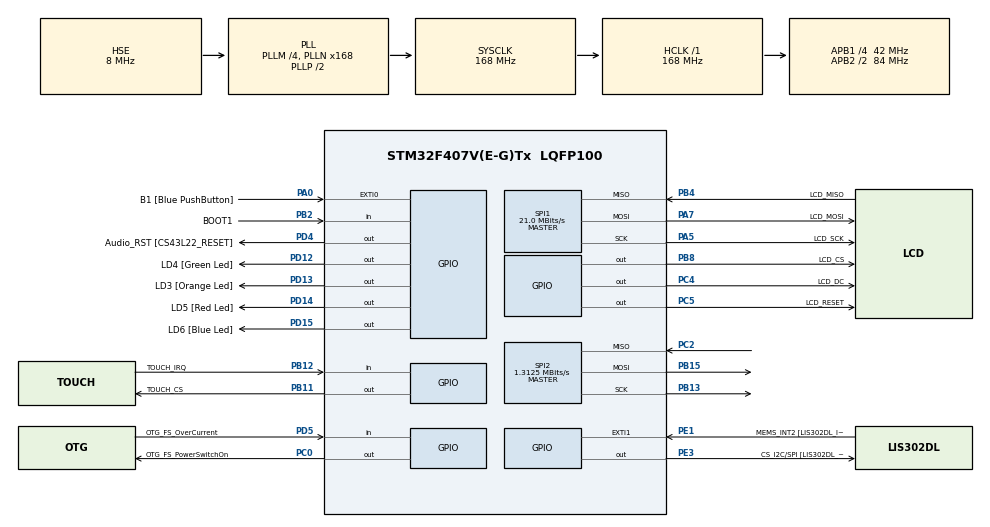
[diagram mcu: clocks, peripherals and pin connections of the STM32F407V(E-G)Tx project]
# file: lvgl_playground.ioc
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Dma.Request0=SPI1_TX
Dma.SPI1_TX.0.Direction=DMA_MEMORY_TO_PERIPH
Dma.SPI1_TX.0.FIFOMode=DMA_FIFOMODE_DISABLE
Dma.SPI1_TX.0.Instance=DMA2_Stream3
Dma.SPI1_TX.0.MemDataAlignment=DMA_MDATAALIGN_BYTE
Dma.SPI1_TX.0.MemInc=DMA_MINC_ENABLE
Dma.SPI1_TX.0.Mode=DMA_NORMAL
Dma.SPI1_TX.0.PeriphDataAlignment=DMA_PDATAALIGN_BYTE
Dma.SPI1_TX.0.PeriphInc=DMA_PINC_DISABLE
Dma.SPI1_TX.0.Priority=DMA_PRIORITY_LOW
Mcu.Family=STM32F4
Mcu.Name=STM32F407V(E-G)Tx
Mcu.Package=LQFP100
NVIC.DMA2_Stream3_IRQn=true\:0\:0\:false\:false\:true\:false\:true\:true
NVIC.PriorityGroup=NVIC_PRIORITYGROUP_0
NVIC.SPI1_IRQn=true\:0\:0\:false\:false\:true\:true\:true\:true
PA0-WKUP.GPIO_Label=B1 [Blue PushButton]
PA0-WKUP.Signal=GPXTI0
PA10.GPIO_Label=OTG_FS_ID
PA10.GPIO_Mode=GPIO_MODE_AF_PP
PA10.GPIO_PuPd=GPIO_NOPULL
PA10.GPIO_Speed=GPIO_SPEED_FREQ_LOW
PA10.Signal=USB_OTG_FS_ID
PA11.GPIO_Label=OTG_FS_DM
PA11.GPIO_Mode=GPIO_MODE_AF_PP
PA11.GPIO_PuPd=GPIO_NOPULL
PA11.GPIO_Speed=GPIO_SPEED_FREQ_LOW
PA11.Signal=USB_OTG_FS_DM
PA12.GPIO_Label=OTG_FS_DP
PA12.GPIO_Mode=GPIO_MODE_AF_PP
PA12.GPIO_PuPd=GPIO_NOPULL
PA12.GPIO_Speed=GPIO_SPEED_FREQ_LOW
PA12.Signal=USB_OTG_FS_DP
PA13.GPIO_Label=SWDIO
PA13.Signal=SYS_JTMS-SWDIO
PA14.GPIO_Label=SWCLK
PA14.Signal=SYS_JTCK-SWCLK
PA4.GPIO_Label=I2S3_WS [CS43L22_LRCK]
PA4.GPIO_Mode=GPIO_MODE_AF_PP
PA4.GPIO_PuPd=GPIO_NOPULL
PA4.GPIO_Speed=GPIO_SPEED_FREQ_LOW
PA4.Signal=I2S3_WS
PA5.GPIO_Label=LCD_SCK
PA5.GPIO_Mode=GPIO_MODE_AF_PP
PA5.GPIO_PuPd=GPIO_NOPULL
PA5.GPIO_Speed=GPIO_SPEED_FREQ_LOW
PA5.Mode=Full_Duplex_Master
PA5.Signal=SPI1_SCK
PA7.GPIO_Label=LCD_MOSI
PA7.GPIO_Mode=GPIO_MODE_AF_PP
PA7.GPIO_PuPd=GPIO_NOPULL
PA7.GPIO_Speed=GPIO_SPEED_FREQ_LOW
PA7.Mode=Full_Duplex_Master
PA7.Signal=SPI1_MOSI
PA9.GPIO_Label=VBUS_FS
PA9.GPIO_Mode=GPIO_MODE_INPUT
PA9.GPIO_PuPd=GPIO_NOPULL
PA9.Signal=USB_OTG_FS_VBUS
PB10.GPIO_Label=CLK_IN [MP45DT02_CLK]
PB10.GPIO_Mode=GPIO_MODE_AF_PP
PB10.GPIO_PuPd=GPIO_NOPULL
PB10.GPIO_Speed=GPIO_SPEED_FREQ_LOW
PB10.Signal=I2S2_CK
PB11.GPIO_Label=TOUCH_CS
PB11.PinState=GPIO_PIN_SET
PB11.Signal=GPIO_Output
PB12.GPIO_Label=TOUCH_IRQ
PB12.GPIO_PuPd=GPIO_PULLUP
PB12.Signal=GPIO_Input
PB13.Mode=Full_Duplex_Master
PB13.Signal=SPI2_SCK
PB15.Mode=Full_Duplex_Master
PB15.Signal=SPI2_MOSI
PB2.GPIO_Label=BOOT1
PB2.GPIO_Mode=GPIO_MODE_INPUT
PB2.GPIO_PuPd=GPIO_NOPULL
PB2.Signal=GPIO_Input
PB3.GPIO_Label=SWO
PB3.Signal=SYS_JTDO-SWO
PB4.GPIO_Label=LCD_MISO
PB4.GPIO_Mode=GPIO_MODE_AF_PP
PB4.GPIO_PuPd=GPIO_NOPULL
PB4.GPIO_Speed=GPIO_SPEED_FREQ_LOW
PB4.Mode=Full_Duplex_Master
PB4.Signal=SPI1_MISO
PB6.GPIO_Label=Audio_SCL [CS43L22_SCL]
PB6.GPIO_Mode=GPIO_MODE_AF_OD
PB6.GPIO_PuPd=GPIO_NOPULL
PB6.GPIO_Speed=GPIO_SPEED_FREQ_LOW
PB6.Signal=I2C1_SCL
PB8.GPIO_Label=LCD_CS
PB8.GPIO_Speed=GPIO_SPEED_FREQ_MEDIUM
PB8.PinState=GPIO_PIN_SET
PB8.Signal=GPIO_Output
PB9.GPIO_Label=Audio_SDA [CS43L22_SDA]
PB9.GPIO_Mode=GPIO_MODE_AF_OD
PB9.GPIO_PuPd=GPIO_NOPULL
PB9.GPIO_Speed=GPIO_SPEED_FREQ_LOW
PB9.Signal=I2C1_SDA
PC0.GPIO_Label=OTG_FS_PowerSwitchOn
PC0.GPIO_PuPd=GPIO_NOPULL
PC0.GPIO_Speed=GPIO_SPEED_FREQ_LOW
PC0.PinState=GPIO_PIN_SET
PC0.Signal=GPIO_Output
PC10.GPIO_Label=I2S3_SCK [CS43L22_SCLK]
PC10.GPIO_Mode=GPIO_MODE_AF_PP
PC10.GPIO_PuPd=GPIO_NOPULL
PC10.GPIO_Speed=GPIO_SPEED_FREQ_LOW
PC10.Signal=I2S3_CK
PC12.GPIO_Label=I2S3_SD [CS43L22_SDIN]
PC12.GPIO_Mode=GPIO_MODE_AF_PP
PC12.GPIO_PuPd=GPIO_NOPULL
PC12.GPIO_Speed=GPIO_SPEED_FREQ_LOW
PC12.Signal=I2S3_SD
PC14-OSC32_IN.GPIO_Label=PC14-OSC32_IN
PC14-OSC32_IN.Signal=RCC_OSC32_IN
PC15-OSC32_OUT.GPIO_Label=PC15-OSC32_OUT
PC15-OSC32_OUT.Signal=RCC_OSC32_OUT
PC2.Mode=Full_Duplex_Master
PC2.Signal=SPI2_MISO
PC3.GPIO_Label=PDM_OUT [MP45DT02_DOUT]
PC3.GPIO_Mode=GPIO_MODE_AF_PP
PC3.GPIO_PuPd=GPIO_NOPULL
PC3.GPIO_Speed=GPIO_SPEED_FREQ_LOW
PC3.Signal=I2S2_SD
PC4.GPIO_Label=LCD_DC
PC4.GPIO_Speed=GPIO_SPEED_FREQ_MEDIUM
PC4.Signal=GPIO_Output
PC5.GPIO_Label=LCD_RESET
PC5.GPIO_Speed=GPIO_SPEED_FREQ_MEDIUM
PC5.Signal=GPIO_Output
PC7.GPIO_Label=I2S3_MCK [CS43L22_MCLK]
PC7.GPIO_Mode=GPIO_MODE_AF_PP
PC7.GPIO_PuPd=GPIO_NOPULL
PC7.GPIO_Speed=GPIO_SPEED_FREQ_LOW
PC7.Signal=I2S3_MCK
PD12.GPIO_Label=LD4 [Green Led]
PD12.GPIO_PuPd=GPIO_NOPULL
PD12.GPIO_Speed=GPIO_SPEED_FREQ_LOW
PD12.Signal=GPIO_Output
PD13.GPIO_Label=LD3 [Orange Led]
PD13.GPIO_PuPd=GPIO_NOPULL
PD13.GPIO_Speed=GPIO_SPEED_FREQ_LOW
PD13.Signal=GPIO_Output
PD14.GPIO_Label=LD5 [Red Led]
PD14.GPIO_PuPd=GPIO_NOPULL
PD14.GPIO_Speed=GPIO_SPEED_FREQ_LOW
PD14.Signal=GPIO_Output
PD15.GPIO_Label=LD6 [Blue Led]
PD15.GPIO_PuPd=GPIO_NOPULL
PD15.GPIO_Speed=GPIO_SPEED_FREQ_LOW
PD15.Signal=GPIO_Output
PD4.GPIO_Label=Audio_RST [CS43L22_RESET]
PD4.GPIO_PuPd=GPIO_NOPULL
PD4.GPIO_Speed=GPIO_SPEED_FREQ_LOW
PD4.Signal=GPIO_Output
PD5.GPIO_Label=OTG_FS_OverCurrent
PD5.GPIO_Mode=GPIO_MODE_INPUT
PD5.GPIO_PuPd=GPIO_NOPULL
PD5.Signal=GPIO_Input
PE1.GPIO_Label=MEMS_INT2 [LIS302DL_INT2]
PE1.GPIO_ModeDefaultEXTI=GPIO_MODE_EVT_RISING
PE1.GPIO_PuPd=GPIO_NOPULL
PE1.Signal=GPXTI1
PE3.GPIO_Label=CS_I2C/SPI [LIS302DL_CS_I2C/SPI]
PE3.GPIO_PuPd=GPIO_NOPULL
PE3.GPIO_Speed=GPIO_SPEED_FREQ_LOW
PE3.PinState=GPIO_PIN_SET
PE3.Signal=GPIO_Output
PH0-OSC_IN.GPIO_Label=PH0-OSC_IN
PH0-OSC_IN.Mode=HSE-External-Oscillator
PH0-OSC_IN.Signal=RCC_OSC_IN
PH1-OSC_OUT.GPIO_Label=PH1-OSC_OUT
PH1-OSC_OUT.Mode=HSE-External-Oscillator
PH1-OSC_OUT.Signal=RCC_OSC_OUT
ProjectManager.HeapSize=0x20000
ProjectManager.StackSize=0x4000
ProjectManager.TargetToolchain=STM32CubeIDE
RCC.48MHZClocksFreq_Value=48000000
RCC.AHBFreq_Value=168000000
RCC.APB1CLKDivider=RCC_HCLK_DIV4
RCC.APB1Freq_Value=42000000
RCC.APB1TimFreq_Value=84000000
RCC.APB2CLKDivider=RCC_HCLK_DIV2
RCC.APB2Freq_Value=84000000
RCC.APB2TimFreq_Value=168000000
RCC.CortexFreq_Value=168000000
RCC.HCLKFreq_Value=168000000
RCC.HSE_VALUE=8000000
RCC.HSI_VALUE=16000000
RCC.LSE_VALUE=32768
RCC.PLLM=4
RCC.PLLN=168
RCC.PLLQ=7
RCC.PLLSourceVirtual=RCC_PLLSOURCE_HSE
RCC.SYSCLKFreq_VALUE=168000000
RCC.SYSCLKSource=RCC_SYSCLKSOURCE_PLLCLK
RCC.VCOOutputFreq_Value=336000000
SPI1.BaudRatePrescaler=SPI_BAUDRATEPRESCALER_4
SPI1.CalculateBaudRate=21.0 MBits/s
SPI1.Direction=SPI_DIRECTION_2LINES
SPI1.Mode=SPI_MODE_MASTER
SPI1.VirtualType=VM_MASTER
SPI2.BaudRatePrescaler=SPI_BAUDRATEPRESCALER_32
SPI2.CalculateBaudRate=1.3125 MBits/s
SPI2.Direction=SPI_DIRECTION_2LINES
SPI2.Mode=SPI_MODE_MASTER
SPI2.VirtualType=VM_MASTER
board=STM32F407G-DISC1

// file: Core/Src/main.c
/* USER CODE BEGIN Header */
/**
  ******************************************************************************
  * @file           : main.c
  * @brief          : Main program body
  ******************************************************************************
  * @attention
  *
  * Copyright (c) 2023 STMicroelectronics.
  * All rights reserved.
  *
  * This software is licensed under terms that can be found in the LICENSE file
  * in the root directory of this software component.
  * If no LICENSE file comes with this software, it is provided AS-IS.
  *
  ******************************************************************************
  */
/* USER CODE END Header */
#include "main.h"

/* USER CODE BEGIN Includes */
#include "lvgl_init.h"
#include "lvgl.h"
#include <math.h>
/* USER CODE END Includes */

SPI_HandleTypeDef hspi1;
SPI_HandleTypeDef hspi2;
DMA_HandleTypeDef hdma_spi1_tx;

void SystemClock_Config(void);
static void MX_GPIO_Init(void);
static void MX_DMA_Init(void);
static void MX_SPI1_Init(void);
static void MX_SPI2_Init(void);

int main(void)
{

  /* MCU Configuration--------------------------------------------------------*/

  /* Reset of all peripherals, Initializes the Flash interface and the Systick. */
  HAL_Init();

  /* Configure the system clock */
  SystemClock_Config();

  /* Initialize all configured peripherals */
  MX_GPIO_Init();
  MX_DMA_Init();
  MX_SPI1_Init();
  MX_SPI2_Init();
  /* USER CODE BEGIN 2 */

  lvgl_init();

  /* LVGL seems to not support adding radius only to selected corners so for now just disable it completely */
  const lv_coord_t corner_radius = 0;
  const lv_coord_t sidebar_width = 50;
  const lv_coord_t tab_width = ILI9341_WIDTH - sidebar_width;
  const lv_coord_t player_tab_margin = 20;
  const lv_coord_t progress_bar_width = tab_width - 2 * player_tab_margin;
  const lv_coord_t progress_bar_height = 10;
  const lv_coord_t time_labels_offset_y = 15;
  const lv_coord_t play_diameter = 45;
  const lv_coord_t nav_diameter = 30;

  /* Create sidebar */
  lv_obj_t *sidebar = lv_tabview_create(lv_scr_act(), LV_DIR_LEFT, sidebar_width);
  lv_obj_clear_flag(lv_tabview_get_content(sidebar), LV_OBJ_FLAG_SCROLLABLE);

  /* Style buttons */
  lv_obj_t *buttons = lv_tabview_get_tab_btns(sidebar);
  lv_obj_set_style_border_side(buttons, LV_BORDER_SIDE_RIGHT, LV_PART_ITEMS | LV_STATE_CHECKED);
  lv_obj_set_style_radius(buttons, corner_radius, LV_PART_MAIN);

  // TODO add volume

  /* Create player view tab */
  lv_obj_t *tab_player = lv_tabview_add_tab(sidebar, LV_SYMBOL_AUDIO);

  lv_obj_t *title_label = lv_label_create(tab_player);
  lv_label_set_text(title_label, "Title");
  lv_obj_set_style_text_font(title_label, &lv_font_montserrat_22, 0);
  lv_obj_align(title_label, LV_ALIGN_TOP_MID, 0, 0);

  lv_obj_t *album_label = lv_label_create(tab_player);
  lv_label_set_text(album_label, "Album");
  lv_obj_set_style_text_font(album_label, &lv_font_montserrat_18, 0);
  lv_obj_align_to(album_label, title_label, LV_ALIGN_OUT_BOTTOM_MID, 0, 8); // TODO fix these magic numbers

  lv_obj_t *artist_label = lv_label_create(tab_player);
  lv_label_set_text(artist_label, "Artist");
  lv_obj_align_to(artist_label, album_label, LV_ALIGN_OUT_BOTTOM_MID, 0, 8);

  lv_obj_t *progress_bar = lv_bar_create(tab_player); // TODO style
  lv_obj_set_size(progress_bar, progress_bar_width, progress_bar_height);
  lv_obj_align_to(progress_bar, artist_label, LV_ALIGN_OUT_BOTTOM_MID, 0, 30);
  lv_bar_set_value(progress_bar, 70, LV_ANIM_OFF);

  lv_obj_t *elapsed_time = lv_label_create(tab_player);
  lv_label_set_text(elapsed_time, "01:39");
  lv_obj_align_to(elapsed_time, progress_bar, LV_ALIGN_OUT_BOTTOM_LEFT, 0, time_labels_offset_y);

  lv_obj_t *total_time = lv_label_create(tab_player);
  lv_label_set_text(total_time, "05:55");
  lv_obj_align_to(total_time, progress_bar, LV_ALIGN_OUT_BOTTOM_RIGHT, 0, time_labels_offset_y);

  lv_obj_t *play_button = lv_btn_create(tab_player);
  lv_obj_set_size(play_button, play_diameter, play_diameter);
  lv_obj_set_style_radius(play_button, LV_RADIUS_CIRCLE, 0);
  lv_obj_align_to(play_button, progress_bar, LV_ALIGN_OUT_BOTTOM_MID, 0, 40);

  lv_obj_t *play_icon = lv_label_create(play_button);
  lv_label_set_text(play_icon, LV_SYMBOL_PLAY);
  lv_obj_center(play_icon);

  lv_obj_t *prev_button = lv_btn_create(tab_player);
  lv_obj_set_size(prev_button, nav_diameter, nav_diameter);
  lv_obj_set_style_radius(prev_button, LV_RADIUS_CIRCLE, 0);
  lv_obj_align_to(prev_button, play_button, LV_ALIGN_OUT_LEFT_MID, -35, 0);

  lv_obj_t *prev_icon = lv_label_create(prev_button);
  lv_label_set_text(prev_icon, LV_SYMBOL_PREV);
  lv_obj_center(prev_icon);

  lv_obj_t *next_button = lv_btn_create(tab_player);
  lv_obj_set_size(next_button, nav_diameter, nav_diameter);
  lv_obj_set_style_radius(next_button, LV_RADIUS_CIRCLE, 0);
  lv_obj_align_to(next_button, play_button, LV_ALIGN_OUT_RIGHT_MID, 35, 0);

  lv_obj_t *next_icon = lv_label_create(next_button);
  lv_label_set_text(next_icon, LV_SYMBOL_NEXT);
  lv_obj_center(next_icon);

  /* Create file explorer tab */
  lv_obj_t *tab_files = lv_tabview_add_tab(sidebar, LV_SYMBOL_FILE);
  lv_obj_set_style_pad_left(tab_files, 0, 0);
  lv_obj_set_style_pad_top(tab_files, 0, 0);
  lv_obj_clear_flag(tab_files, LV_OBJ_FLAG_SCROLLABLE);

  /* Create files list */
  lv_obj_t *list_files = lv_list_create(tab_files);
  lv_obj_set_size(list_files, tab_width, ILI9341_HEIGHT); // TODO define as GUI_MAX_HEIGHT
  lv_obj_set_style_radius(list_files, corner_radius, LV_PART_MAIN);

  const char *songs_list[] = {
		  "01. Test.mp3", "02. Test.mp3", "03. Test.mp3",
		  "04. Test.mp3", "05. Test.mp3", "06. Test.mp3",
		  "07. Test.mp3", "08. Test.mp3", "09. Test.mp3",
		  "10. Test.mp3", "11. Test.mp3", "12. Test.mp3"
  };

  lv_list_add_text(list_files, "/test/path/to/folder");
  lv_list_add_btn(list_files, NULL, "..");
  for (size_t i = 0; i < 12; ++i) {
	  lv_list_add_btn(list_files, LV_SYMBOL_AUDIO, songs_list[i]);
  }

  /* USER CODE END 2 */

  /* Infinite loop */
  /* USER CODE BEGIN WHILE */
  const uint32_t lv_task_refresh_time_ms = 5;

  uint32_t lv_last_tick = 0;
  uint32_t current_tick;

  while (1)
  {
	  current_tick = HAL_GetTick();

	  if ((current_tick - lv_last_tick) >= lv_task_refresh_time_ms) {
		  lv_task_handler();
		  lv_last_tick = current_tick;
	  }
    /* USER CODE END WHILE */

  }
}

void SystemClock_Config(void)
{
  RCC_OscInitTypeDef RCC_OscInitStruct = {0};
  RCC_ClkInitTypeDef RCC_ClkInitStruct = {0};

  /** Configure the main internal regulator output voltage
  */
  __HAL_RCC_PWR_CLK_ENABLE();
  __HAL_PWR_VOLTAGESCALING_CONFIG(PWR_REGULATOR_VOLTAGE_SCALE1);

  /** Initializes the RCC Oscillators according to the specified parameters
  * in the RCC_OscInitTypeDef structure.
  */
  RCC_OscInitStruct.OscillatorType = RCC_OSCILLATORTYPE_HSE;
  RCC_OscInitStruct.HSEState = RCC_HSE_ON;
  RCC_OscInitStruct.PLL.PLLState = RCC_PLL_ON;
  RCC_OscInitStruct.PLL.PLLSource = RCC_PLLSOURCE_HSE;
  RCC_OscInitStruct.PLL.PLLM = 4;
  RCC_OscInitStruct.PLL.PLLN = 168;
  RCC_OscInitStruct.PLL.PLLP = RCC_PLLP_DIV2;
  RCC_OscInitStruct.PLL.PLLQ = 7;
  if (HAL_RCC_OscConfig(&RCC_OscInitStruct) != HAL_OK)
  {
    Error_Handler();
  }

  /** Initializes the CPU, AHB and APB buses clocks
  */
  RCC_ClkInitStruct.ClockType = RCC_CLOCKTYPE_HCLK|RCC_CLOCKTYPE_SYSCLK
                              |RCC_CLOCKTYPE_PCLK1|RCC_CLOCKTYPE_PCLK2;
  RCC_ClkInitStruct.SYSCLKSource = RCC_SYSCLKSOURCE_PLLCLK;
  RCC_ClkInitStruct.AHBCLKDivider = RCC_SYSCLK_DIV1;
  RCC_ClkInitStruct.APB1CLKDivider = RCC_HCLK_DIV4;
  RCC_ClkInitStruct.APB2CLKDivider = RCC_HCLK_DIV2;

  if (HAL_RCC_ClockConfig(&RCC_ClkInitStruct, FLASH_LATENCY_5) != HAL_OK)
  {
    Error_Handler();
  }
}

static void MX_SPI1_Init(void)
{

  /* SPI1 parameter configuration*/
  hspi1.Instance = SPI1;
  hspi1.Init.Mode = SPI_MODE_MASTER;
  hspi1.Init.Direction = SPI_DIRECTION_2LINES;
  hspi1.Init.DataSize = SPI_DATASIZE_8BIT;
  hspi1.Init.CLKPolarity = SPI_POLARITY_LOW;
  hspi1.Init.CLKPhase = SPI_PHASE_1EDGE;
  hspi1.Init.NSS = SPI_NSS_SOFT;
  hspi1.Init.BaudRatePrescaler = SPI_BAUDRATEPRESCALER_4;
  hspi1.Init.FirstBit = SPI_FIRSTBIT_MSB;
  hspi1.Init.TIMode = SPI_TIMODE_DISABLE;
  hspi1.Init.CRCCalculation = SPI_CRCCALCULATION_DISABLE;
  hspi1.Init.CRCPolynomial = 10;
  if (HAL_SPI_Init(&hspi1) != HAL_OK)
  {
    Error_Handler();
  }

}

static void MX_SPI2_Init(void)
{

  /* SPI2 parameter configuration*/
  hspi2.Instance = SPI2;
  hspi2.Init.Mode = SPI_MODE_MASTER;
  hspi2.Init.Direction = SPI_DIRECTION_2LINES;
  hspi2.Init.DataSize = SPI_DATASIZE_8BIT;
  hspi2.Init.CLKPolarity = SPI_POLARITY_LOW;
  hspi2.Init.CLKPhase = SPI_PHASE_1EDGE;
  hspi2.Init.NSS = SPI_NSS_SOFT;
  hspi2.Init.BaudRatePrescaler = SPI_BAUDRATEPRESCALER_32;
  hspi2.Init.FirstBit = SPI_FIRSTBIT_MSB;
  hspi2.Init.TIMode = SPI_TIMODE_DISABLE;
  hspi2.Init.CRCCalculation = SPI_CRCCALCULATION_DISABLE;
  hspi2.Init.CRCPolynomial = 10;
  if (HAL_SPI_Init(&hspi2) != HAL_OK)
  {
    Error_Handler();
  }

}

static void MX_DMA_Init(void)
{

  /* DMA controller clock enable */
  __HAL_RCC_DMA2_CLK_ENABLE();

  /* DMA interrupt init */
  /* DMA2_Stream3_IRQn interrupt configuration */
  HAL_NVIC_SetPriority(DMA2_Stream3_IRQn, 0, 0);
  HAL_NVIC_EnableIRQ(DMA2_Stream3_IRQn);

}

static void MX_GPIO_Init(void)
{
  GPIO_InitTypeDef GPIO_InitStruct = {0};

  /* GPIO Ports Clock Enable */
  __HAL_RCC_GPIOE_CLK_ENABLE();
  __HAL_RCC_GPIOC_CLK_ENABLE();
  __HAL_RCC_GPIOH_CLK_ENABLE();
  __HAL_RCC_GPIOA_CLK_ENABLE();
  __HAL_RCC_GPIOB_CLK_ENABLE();
  __HAL_RCC_GPIOD_CLK_ENABLE();

  /*Configure GPIO pin Output Level */
  HAL_GPIO_WritePin(CS_I2C_SPI_GPIO_Port, CS_I2C_SPI_Pin, GPIO_PIN_SET);

  /*Configure GPIO pin Output Level */
  HAL_GPIO_WritePin(OTG_FS_PowerSwitchOn_GPIO_Port, OTG_FS_PowerSwitchOn_Pin, GPIO_PIN_SET);

  /*Configure GPIO pin Output Level */
  HAL_GPIO_WritePin(GPIOC, LCD_DC_Pin|LCD_RESET_Pin, GPIO_PIN_RESET);

  /*Configure GPIO pin Output Level */
  HAL_GPIO_WritePin(GPIOB, TOUCH_CS_Pin|LCD_CS_Pin, GPIO_PIN_SET);

  /*Configure GPIO pin Output Level */
  HAL_GPIO_WritePin(GPIOD, LD4_Pin|LD3_Pin|LD5_Pin|LD6_Pin
                          |Audio_RST_Pin, GPIO_PIN_RESET);

  /*Configure GPIO pin : CS_I2C_SPI_Pin */
  GPIO_InitStruct.Pin = CS_I2C_SPI_Pin;
  GPIO_InitStruct.Mode = GPIO_MODE_OUTPUT_PP;
  GPIO_InitStruct.Pull = GPIO_NOPULL;
  GPIO_InitStruct.Speed = GPIO_SPEED_FREQ_LOW;
  HAL_GPIO_Init(CS_I2C_SPI_GPIO_Port, &GPIO_InitStruct);

  /*Configure GPIO pin : OTG_FS_PowerSwitchOn_Pin */
  GPIO_InitStruct.Pin = OTG_FS_PowerSwitchOn_Pin;
  GPIO_InitStruct.Mode = GPIO_MODE_OUTPUT_PP;
  GPIO_InitStruct.Pull = GPIO_NOPULL;
  GPIO_InitStruct.Speed = GPIO_SPEED_FREQ_LOW;
  HAL_GPIO_Init(OTG_FS_PowerSwitchOn_GPIO_Port, &GPIO_InitStruct);

  /*Configure GPIO pin : PDM_OUT_Pin */
  GPIO_InitStruct.Pin = PDM_OUT_Pin;
  GPIO_InitStruct.Mode = GPIO_MODE_AF_PP;
  GPIO_InitStruct.Pull = GPIO_NOPULL;
  GPIO_InitStruct.Speed = GPIO_SPEED_FREQ_LOW;
  GPIO_InitStruct.Alternate = GPIO_AF5_SPI2;
  HAL_GPIO_Init(PDM_OUT_GPIO_Port, &GPIO_InitStruct);

  /*Configure GPIO pin : B1_Pin */
  GPIO_InitStruct.Pin = B1_Pin;
  GPIO_InitStruct.Mode = GPIO_MODE_IT_RISING;
  GPIO_InitStruct.Pull = GPIO_NOPULL;
  HAL_GPIO_Init(B1_GPIO_Port, &GPIO_InitStruct);

  /*Configure GPIO pin : I2S3_WS_Pin */
  GPIO_InitStruct.Pin = I2S3_WS_Pin;
  GPIO_InitStruct.Mode = GPIO_MODE_AF_PP;
  GPIO_InitStruct.Pull = GPIO_NOPULL;
  GPIO_InitStruct.Speed = GPIO_SPEED_FREQ_LOW;
  GPIO_InitStruct.Alternate = GPIO_AF6_SPI3;
  HAL_GPIO_Init(I2S3_WS_GPIO_Port, &GPIO_InitStruct);

  /*Configure GPIO pins : LCD_DC_Pin LCD_RESET_Pin */
  GPIO_InitStruct.Pin = LCD_DC_Pin|LCD_RESET_Pin;
  GPIO_InitStruct.Mode = GPIO_MODE_OUTPUT_PP;
  GPIO_InitStruct.Pull = GPIO_NOPULL;
  GPIO_InitStruct.Speed = GPIO_SPEED_FREQ_MEDIUM;
  HAL_GPIO_Init(GPIOC, &GPIO_InitStruct);

  /*Configure GPIO pin : BOOT1_Pin */
  GPIO_InitStruct.Pin = BOOT1_Pin;
  GPIO_InitStruct.Mode = GPIO_MODE_INPUT;
  GPIO_InitStruct.Pull = GPIO_NOPULL;
  HAL_GPIO_Init(BOOT1_GPIO_Port, &GPIO_InitStruct);

  /*Configure GPIO pin : CLK_IN_Pin */
  GPIO_InitStruct.Pin = CLK_IN_Pin;
  GPIO_InitStruct.Mode = GPIO_MODE_AF_PP;
  GPIO_InitStruct.Pull = GPIO_NOPULL;
  GPIO_InitStruct.Speed = GPIO_SPEED_FREQ_LOW;
  GPIO_InitStruct.Alternate = GPIO_AF5_SPI2;
  HAL_GPIO_Init(CLK_IN_GPIO_Port, &GPIO_InitStruct);

  /*Configure GPIO pin : TOUCH_CS_Pin */
  GPIO_InitStruct.Pin = TOUCH_CS_Pin;
  GPIO_InitStruct.Mode = GPIO_MODE_OUTPUT_PP;
  GPIO_InitStruct.Pull = GPIO_NOPULL;
  GPIO_InitStruct.Speed = GPIO_SPEED_FREQ_LOW;
  HAL_GPIO_Init(TOUCH_CS_GPIO_Port, &GPIO_InitStruct);

  /*Configure GPIO pin : TOUCH_IRQ_Pin */
  GPIO_InitStruct.Pin = TOUCH_IRQ_Pin;
  GPIO_InitStruct.Mode = GPIO_MODE_INPUT;
  GPIO_InitStruct.Pull = GPIO_PULLUP;
  HAL_GPIO_Init(TOUCH_IRQ_GPIO_Port, &GPIO_InitStruct);

  /*Configure GPIO pins : LD4_Pin LD3_Pin LD5_Pin LD6_Pin
                           Audio_RST_Pin */
  GPIO_InitStruct.Pin = LD4_Pin|LD3_Pin|LD5_Pin|LD6_Pin
                          |Audio_RST_Pin;
  GPIO_InitStruct.Mode = GPIO_MODE_OUTPUT_PP;
  GPIO_InitStruct.Pull = GPIO_NOPULL;
  GPIO_InitStruct.Speed = GPIO_SPEED_FREQ_LOW;
  HAL_GPIO_Init(GPIOD, &GPIO_InitStruct);

  /*Configure GPIO pins : I2S3_MCK_Pin I2S3_SCK_Pin I2S3_SD_Pin */
  GPIO_InitStruct.Pin = I2S3_MCK_Pin|I2S3_SCK_Pin|I2S3_SD_Pin;
  GPIO_InitStruct.Mode = GPIO_MODE_AF_PP;
  GPIO_InitStruct.Pull = GPIO_NOPULL;
  GPIO_InitStruct.Speed = GPIO_SPEED_FREQ_LOW;
  GPIO_InitStruct.Alternate = GPIO_AF6_SPI3;
  HAL_GPIO_Init(GPIOC, &GPIO_InitStruct);

  /*Configure GPIO pin : VBUS_FS_Pin */
  GPIO_InitStruct.Pin = VBUS_FS_Pin;
  GPIO_InitStruct.Mode = GPIO_MODE_INPUT;
  GPIO_InitStruct.Pull = GPIO_NOPULL;
  HAL_GPIO_Init(VBUS_FS_GPIO_Port, &GPIO_InitStruct);

  /*Configure GPIO pins : OTG_FS_ID_Pin OTG_FS_DM_Pin OTG_FS_DP_Pin */
  GPIO_InitStruct.Pin = OTG_FS_ID_Pin|OTG_FS_DM_Pin|OTG_FS_DP_Pin;
  GPIO_InitStruct.Mode = GPIO_MODE_AF_PP;
  GPIO_InitStruct.Pull = GPIO_NOPULL;
  GPIO_InitStruct.Speed = GPIO_SPEED_FREQ_LOW;
  GPIO_InitStruct.Alternate = GPIO_AF10_OTG_FS;
  HAL_GPIO_Init(GPIOA, &GPIO_InitStruct);

  /*Configure GPIO pin : OTG_FS_OverCurrent_Pin */
  GPIO_InitStruct.Pin = OTG_FS_OverCurrent_Pin;
  GPIO_InitStruct.Mode = GPIO_MODE_INPUT;
  GPIO_InitStruct.Pull = GPIO_NOPULL;
  HAL_GPIO_Init(OTG_FS_OverCurrent_GPIO_Port, &GPIO_InitStruct);

  /*Configure GPIO pins : Audio_SCL_Pin Audio_SDA_Pin */
  GPIO_InitStruct.Pin = Audio_SCL_Pin|Audio_SDA_Pin;
  GPIO_InitStruct.Mode = GPIO_MODE_AF_OD;
  GPIO_InitStruct.Pull = GPIO_NOPULL;
  GPIO_InitStruct.Speed = GPIO_SPEED_FREQ_LOW;
  GPIO_InitStruct.Alternate = GPIO_AF4_I2C1;
  HAL_GPIO_Init(GPIOB, &GPIO_InitStruct);

  /*Configure GPIO pin : LCD_CS_Pin */
  GPIO_InitStruct.Pin = LCD_CS_Pin;
  GPIO_InitStruct.Mode = GPIO_MODE_OUTPUT_PP;
  GPIO_InitStruct.Pull = GPIO_NOPULL;
  GPIO_InitStruct.Speed = GPIO_SPEED_FREQ_MEDIUM;
  HAL_GPIO_Init(LCD_CS_GPIO_Port, &GPIO_InitStruct);

  /*Configure GPIO pin : MEMS_INT2_Pin */
  GPIO_InitStruct.Pin = MEMS_INT2_Pin;
  GPIO_InitStruct.Mode = GPIO_MODE_EVT_RISING;
  GPIO_InitStruct.Pull = GPIO_NOPULL;
  HAL_GPIO_Init(MEMS_INT2_GPIO_Port, &GPIO_InitStruct);

}

void Error_Handler(void)
{
  __disable_irq();
  while (1)
  {
  }
}
